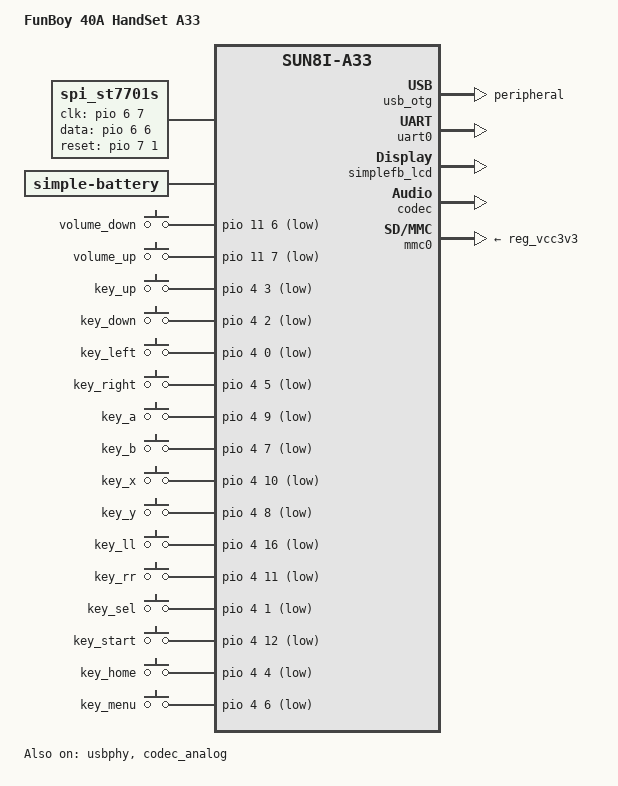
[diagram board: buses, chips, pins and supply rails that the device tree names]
/*
 * Copyright 2015 Hans de Goede <hdegoede@redhat.com>
 *
 * This file is dual-licensed: you can use it either under the terms
 * of the GPL or the X11 license, at your option. Note that this dual
 * licensing only applies to this file, and not this project as a
 * whole.
 *
 *  a) This file is free software; you can redistribute it and/or
 *     modify it under the terms of the GNU General Public License as
 *     published by the Free Software Foundation; either version 2 of the
 *     License, or (at your option) any later version.
 *
 *     This file is distributed in the hope that it will be useful,
 *     but WITHOUT ANY WARRANTY; without even the implied warranty of
 *     MERCHANTABILITY or FITNESS FOR A PARTICULAR PURPOSE.  See the
 *     GNU General Public License for more details.
 *
 * Or, alternatively,
 *
 *  b) Permission is hereby granted, free of charge, to any person
 *     obtaining a copy of this software and associated documentation
 *     files (the "Software"), to deal in the Software without
 *     restriction, including without limitation the rights to use,
 *     copy, modify, merge, publish, distribute, sublicense, and/or
 *     sell copies of the Software, and to permit persons to whom the
 *     Software is furnished to do so, subject to the following
 *     conditions:
 *
 *     The above copyright notice and this permission notice shall be
 *     included in all copies or substantial portions of the Software.
 *
 *     THE SOFTWARE IS PROVIDED "AS IS", WITHOUT WARRANTY OF ANY KIND,
 *     EXPRESS OR IMPLIED, INCLUDING BUT NOT LIMITED TO THE WARRANTIES
 *     OF MERCHANTABILITY, FITNESS FOR A PARTICULAR PURPOSE AND
 *     NONINFRINGEMENT. IN NO EVENT SHALL THE AUTHORS OR COPYRIGHT
 *     HOLDERS BE LIABLE FOR ANY CLAIM, DAMAGES OR OTHER LIABILITY,
 *     WHETHER IN AN ACTION OF CONTRACT, TORT OR OTHERWISE, ARISING
 *     FROM, OUT OF OR IN CONNECTION WITH THE SOFTWARE OR THE USE OR
 *     OTHER DEALINGS IN THE SOFTWARE.
 */

/dts-v1/;
#include "sun8i-a33.dtsi"
#include "sun8i-q8-common.dtsi"

/ {
	model = "FunBoy 40A HandSet A33";
	compatible = "allwinner,funboy-a33", "allwinner,sun8i-a33";
	aliases {
		serial0 = &uart0;
	};
        st7701s {
	        compatible = "spi_st7701s";
        	cs-gpios = <&pio 6 10 GPIO_ACTIVE_HIGH>; //PG 10
	        clk-gpios = <&pio 6 7 GPIO_ACTIVE_HIGH>;  //PG7
        	data-gpios = <&pio 6 6 GPIO_ACTIVE_HIGH>;  //PG6
	        reset-gpios = <&pio 7 1 GPIO_ACTIVE_HIGH>; /* PH1 */
        	status = "okay";
        };
	
	bat: battery {
		compatible = "simple-battery";
		constant_charge_current_max_microamp = <400000>;
	};
	soc@01c00000 {
		/delete-node/ gpu@1c40000;
	};
	thermal-zones {
		cpu_thermal {
			cooling-maps {
				/delete-node/ map2;
				/delete-node/ map3;
			};
		};
	};

	gpio-keys {
		compatible = "gpio-keys-polled";
		input-name = "gpio-keys";

		pinctrl-names = "default";
		pinctrl-0 = <&gpio_keys>;

		volume-down {
			label = "volume_down";
			gpios = <&pio 11 6 GPIO_ACTIVE_LOW>;
			linux,input-type = <1>;
			linux,code = <KEY_VOLUMEDOWN>;
		};

		volume-up {
			label = "volume_up";
			gpios = <&pio 11 7 GPIO_ACTIVE_LOW>;
			linux,input-type = <1>;
			linux,code = <KEY_VOLUMEUP>;
		};

		key-up {
			label = "key_up";
			gpios = <&pio 4 3 GPIO_ACTIVE_LOW>;
			linux,input-type = <1>;
			linux,code = <117>;
		};
		key-down {
			label = "key_down";
			gpios = <&pio 4 2 GPIO_ACTIVE_LOW>;
			linux,input-type = <1>;
			linux,code = <100>;
		};
		key-left {
			label = "key_left";
			gpios = <&pio 4 0 GPIO_ACTIVE_LOW>;
			linux,input-type = <1>;
			linux,code = <108>;
		};
		key-right {
			label = "key_right";
			gpios = <&pio 4 5 GPIO_ACTIVE_LOW>;
			linux,input-type = <1>;
			linux,code = <114>;
		};

		key-a {
			label = "key_a";
			gpios = <&pio 4 9 GPIO_ACTIVE_LOW>;
			linux,input-type = <1>;
			linux,code = <97>;
		};
		key-b {
			label = "key_b";
			gpios = <&pio 4 7 GPIO_ACTIVE_LOW>;
			linux,input-type = <1>;
			linux,code = <98>;
		};
		key-x {
			label = "key_x";
			gpios = <&pio 4 10 GPIO_ACTIVE_LOW>;
			linux,input-type = <1>;
			linux,code = <120>;//??109
		};
		key-y {
			label = "key_y";
			gpios = <&pio 4 8 GPIO_ACTIVE_LOW>;
			linux,input-type = <1>;
			linux,code = <121>;//? 110
		};
		key-ll {
			label = "key_ll";
			gpios = <&pio 4 16 GPIO_ACTIVE_LOW>;
			linux,input-type = <1>;
			linux,code = <109>;
		};

		key-rr {
			label = "key_rr";
			gpios = <&pio 4 11 GPIO_ACTIVE_LOW>;
			linux,input-type = <1>;
			linux,code = <110>;
		};

		key-sel {
			label = "key_sel";
			gpios = <&pio 4 1 GPIO_ACTIVE_LOW>;
			linux,input-type = <1>;
			linux,code = <107>;
		};
		key-start {
			label = "key_start";
			gpios = <&pio 4 12 GPIO_ACTIVE_LOW>;
			linux,input-type = <1>;
			linux,code = <115>;
		};
		key-home {
			label = "key_home";
			gpios = <&pio 4 4 GPIO_ACTIVE_LOW>;
			linux,input-type = <1>;
			linux,code = <102>;//home
		};
		key-menu {
			label = "key_menu";
			gpios = <&pio 4 6 GPIO_ACTIVE_LOW>;
			linux,input-type = <1>;
			linux,code = <139>; //menu
		};
	};

};
&r_pio {
	/*
	上 PE3  下 PE2   左 PE0  右 PE5
	A PE9   B PE7   X PE10   Y PE8
	Sel PE1  Start PE12  home PE4  ... PE6
	LL PE16   RR PE11

	A0 B1 C2 D3 E4 F5 G6 H7 I8 J9 K10 L11
	*/
	gpio_keys: gpio-keys {
		pins = "PE0", "PE1", "PE2","PE3", "PE4", "PE5","PE6", "PE7", "PE8","PE9", "PE10", "PE11","PE12", "PE16","PL6", "PL7";
		function = "gpio_in";
		bias-pull-up;
	};
};

&usb_otg {
        dr_mode = "peripheral";
        status = "okay";
};

&usbphy {
	/delete-property/ pinctrl-names;
	/delete-property/ pinctrl-0;
	/delete-property/ usb0_id_det-gpio;
	status = "okay";
};

&backlight{
//	enable-gpios = <&pio 7 1 GPIO_ACTIVE_HIGH>; /* PH1 A0 B1 C2 D3 E4 F5 G6 H7*/
	/delete-property/ enable-gpios;
};

&i2c0 {
	/delete-node/ touchscreen@0;
};

&uart0 {
	pinctrl-names = "default";
	pinctrl-0 = <&uart0_pins_b>;
	status = "okay";
};

&simplefb_lcd{
       status = "okay";
       vcc-lcd-supply = <&reg_vcc5v0>;
};

&r_uart {
	status = "disabled";
};

&codec {
	allwinner,audio-routing =
		"Headphone", "HP",
		"Headphone", "HPCOM",
		"MIC1", "Mic",
		"Mic",  "HBIAS";
	status = "okay";
};

&codec_analog {
	status = "okay";
};
&mmc0 {
	/delete-property/ cd-gpios;
	/delete-property/ cd-inverted;
	pinctrl-names = "default";
	pinctrl-0 = <&mmc0_pins_a>;
	vmmc-supply = <&reg_vcc3v3>;
	vqmmc-supply = <&reg_vcc3v3>;
	broken-cd;
};

&ac_power_supply{
	status="okay";
};

&battery_power_supply{
	status="okay";
};
&usb_power_supply{
	status="okay";
};

&reg_vcc3v0 {
	regulator-always-on;
	status = "okay";
};

&reg_vcc3v3 {
	regulator-always-on;
	status = "okay";
};

&reg_vcc5v0 {
	regulator-always-on;
	status = "okay";
};
